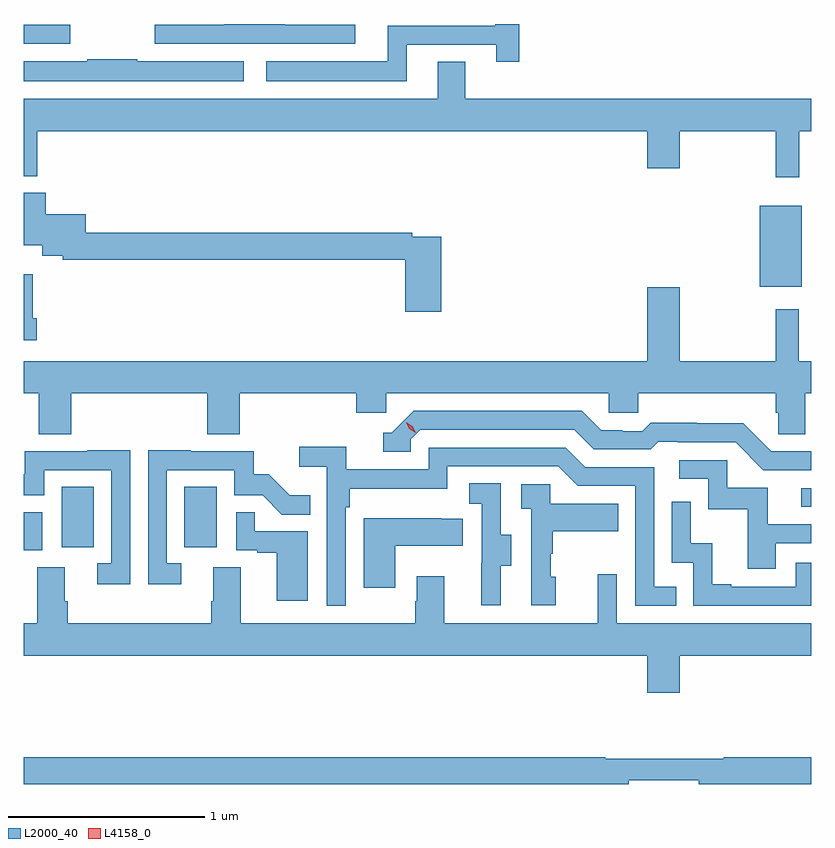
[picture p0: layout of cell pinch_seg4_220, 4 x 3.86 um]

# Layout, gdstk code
import gdstk
lib = gdstk.Library(unit=1e-6, precision=1e-09)
def R(c, l, rs):  # rectangles x0, y0, x1, y1
    for r in rs: c.add(gdstk.rectangle(r[:2], r[2:], *l))
def P(c, l, *ps):  # polygons
    for p in ps: c.add(gdstk.Polygon(p, *l))
L2000_40 = (2000, 40)
L4158_0 = (4158, 0)

pinch_seg4_220 = lib.new_cell('pinch_seg4_220')
R(pinch_seg4_220, L2000_40, [(1001,814.671,1001.094,814.865), (1001.192,814.686,1001.356,814.993), (1001.816,814.686,1001.98,814.993), (1004.949,814.893,1005,814.986), (1004.738,816.011,1004.953,816.421), (1001,817.245,1001.236,817.341)])
P(pinch_seg4_220, L2000_40, [(1002.946,817.239),(1003.4,817.239),(1003.4,817.152),(1003.517,817.152),(1003.517,817.345),(1003.394,817.345),(1003.394,817.335),(1002.848,817.335),(1002.848,817.156),(1002.231,817.156),(1002.231,817.055),(1002.946,817.055)],
  [(1002.685,817.342),(1002.326,817.342),(1002.326,817.345),(1002.019,817.345),(1002.019,817.341),(1001.664,817.341),(1001.664,817.245),(1002.685,817.245)],
  [(1002.118,817.156),(1001.576,817.156),(1001.576,817.166),(1001.323,817.166),(1001.323,817.156),(1001,817.156),(1001,817.055),(1002.118,817.055)],
  [(1004.939,816.8),(1005,816.8),(1005,816.964),(1003.243,816.964),(1003.243,817.154),(1003.103,817.154),(1003.103,816.964),(1001,816.964),(1001,816.572),(1001.069,816.572),(1001.069,816.8),(1004.168,816.8),(1004.168,816.612),(1004.332,816.612),(1004.332,816.8),(1004.821,816.8),(1004.821,816.567),(1004.939,816.567)],
  [(1003.121,816.264),(1002.974,816.264),(1002.974,816.284),(1001.314,816.284),(1001.314,816.379),(1001.111,816.379),(1001.111,816.487),(1001,816.487),(1001,816.221),(1001.093,816.221),(1001.093,816.167),(1001.197,816.167),(1001.197,816.148),(1002.938,816.148),(1002.938,815.883),(1003.121,815.883)],
  [(1001.066,815.851),(1001.046,815.851),(1001.046,816.073),(1001,816.073),(1001,815.739),(1001.066,815.739)],
  [(1001.24,815.468),(1001.933,815.468),(1001.933,815.26),(1002.098,815.26),(1002.098,815.468),(1002.689,815.468),(1002.689,815.37),(1002.84,815.37),(1002.84,815.468),(1003.971,815.468),(1003.971,815.37),(1004.121,815.37),(1004.121,815.468),(1004.819,815.468),(1004.819,815.37),(1004.833,815.37),(1004.833,815.26),(1004.97,815.26),(1004.97,815.468),(1005,815.468),(1005,815.632),(1004.938,815.632),(1004.938,815.896),(1004.821,815.896),(1004.821,815.632),(1004.332,815.632),(1004.332,816.007),(1004.168,816.007),(1004.168,815.632),(1001,815.632),(1001,815.468),(1001.075,815.468),(1001.075,815.26),(1001.24,815.26)],
  [(1005,815.175),(1004.796,815.175),(1004.654,815.317),(1004.418,815.317),(1004.418,815.32),(1004.185,815.32),(1004.143,815.277),(1004.04,815.277),(1004.04,815.28),(1003.933,815.28),(1003.834,815.379),(1002.981,815.379),(1002.87,815.268),(1002.827,815.268),(1002.827,815.172),(1002.966,815.172),(1002.966,815.235),(1003.014,815.283),(1003.797,815.283),(1003.896,815.184),(1004.185,815.184),(1004.224,815.223),(1004.323,815.223),(1004.323,815.22),(1004.616,815.22),(1004.757,815.079),(1005,815.079)],
  [(1002.636,814.889),(1002.656,814.889),(1002.656,814.985),(1003.152,814.985),(1003.152,815.097),(1003.716,815.097),(1003.815,814.998),(1004.106,814.998),(1004.106,814.389),(1004.315,814.389),(1004.315,814.485),(1004.202,814.485),(1004.202,815.094),(1003.852,815.094),(1003.753,815.193),(1003.056,815.193),(1003.056,815.082),(1002.638,815.082),(1002.638,815.198),(1002.399,815.198),(1002.399,815.096),(1002.54,815.096),(1002.54,814.389),(1002.636,814.389)],
  [(1001.8,814.605),(1001.727,814.605),(1001.727,815.079),(1002.069,815.079),(1002.069,814.95),(1002.213,814.95),(1002.311,814.852),(1002.455,814.852),(1002.455,814.951),(1002.351,814.951),(1002.244,815.058),(1002.168,815.058),(1002.168,815.175),(1001.849,815.175),(1001.849,815.18),(1001.631,815.18),(1001.631,814.5),(1001.8,814.5)],
  [(1001.541,815.18),(1001.323,815.18),(1001.323,815.175),(1001.005,815.175),(1001.005,815.058),(1001,815.058),(1001,814.95),(1001.103,814.95),(1001.103,815.079),(1001.445,815.079),(1001.445,814.605),(1001.373,814.605),(1001.373,814.5),(1001.541,814.5)],
  [(1004.821,814.707),(1005,814.707),(1005,814.803),(1004.779,814.803),(1004.779,814.989),(1004.574,814.989),(1004.574,815.13),(1004.331,815.13),(1004.331,815.034),(1004.478,815.034),(1004.478,814.881),(1004.677,814.881),(1004.677,814.578),(1004.821,814.578)],
  [(1003.423,814.594),(1003.477,814.594),(1003.477,814.749),(1003.422,814.749),(1003.422,815.012),(1003.263,815.012),(1003.263,814.909),(1003.326,814.909),(1003.326,814.605),(1003.325,814.605),(1003.325,814.392),(1003.423,814.392)],
  [(1003.702,814.536),(1003.677,814.536),(1003.677,814.655),(1003.687,814.655),(1003.687,814.769),(1004.021,814.769),(1004.021,814.909),(1003.674,814.909),(1003.674,815.007),(1003.527,815.007),(1003.527,814.883),(1003.578,814.883),(1003.578,814.392),(1003.702,814.392)],
  [(1005,814.608),(1004.922,814.608),(1004.922,814.485),(1004.593,814.485),(1004.593,814.498),(1004.498,814.498),(1004.498,814.706),(1004.388,814.706),(1004.388,814.918),(1004.292,814.918),(1004.292,814.608),(1004.4,814.608),(1004.4,814.389),(1005,814.389)],
  [(1002.442,814.767),(1002.173,814.767),(1002.173,814.865),(1002.078,814.865),(1002.078,814.671),(1002.185,814.671),(1002.185,814.659),(1002.284,814.659),(1002.284,814.416),(1002.442,814.416)],
  [(1002.886,814.694),(1003.229,814.694),(1003.229,814.831),(1003.121,814.831),(1003.121,814.834),(1002.728,814.834),(1002.728,814.482),(1002.886,814.482)],
  [(1004.332,814.136),(1005,814.136),(1005,814.3),(1004.013,814.3),(1004.013,814.549),(1003.916,814.549),(1003.916,814.3),(1003.135,814.3),(1003.135,814.54),(1002.995,814.54),(1002.995,814.412),(1002.988,814.412),(1002.988,814.3),(1002.103,814.3),(1002.103,814.586),(1001.963,814.586),(1001.963,814.412),(1001.951,814.412),(1001.951,814.3),(1001.222,814.3),(1001.222,814.412),(1001.209,814.412),(1001.209,814.586),(1001.069,814.586),(1001.069,814.3),(1001,814.3),(1001,814.136),(1004.168,814.136),(1004.168,813.948),(1004.332,813.948)],
  [(1004.072,813.503),(1004.428,813.503),(1004.428,813.484),(1005,813.484),(1005,813.62),(1004.555,813.62),(1004.555,813.613),(1003.955,813.613),(1003.955,813.62),(1001,813.62),(1001,813.484),(1004.072,813.484)])
P(pinch_seg4_220, L4158_0, [(1002.99,815.269),(1002.959,815.289),(1002.943,815.321),(1002.943,815.322),(1002.944,815.322),(1002.974,815.302),(1002.99,815.269),(1002.99,815.269)])

lib.write_gds('pinch_seg4_220.gds')
